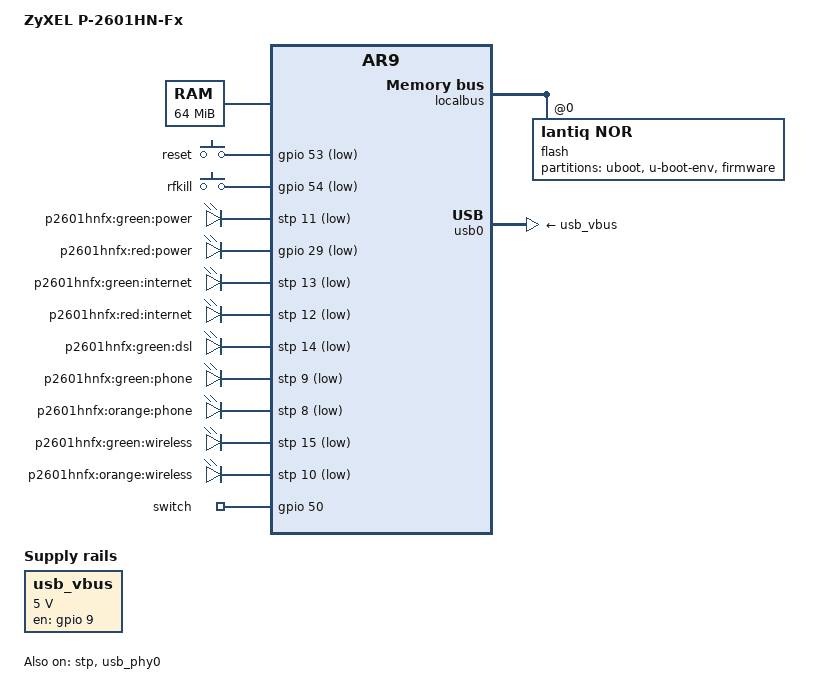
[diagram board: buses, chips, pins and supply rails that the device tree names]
/dts-v1/;

#include "ar9.dtsi"

#include <dt-bindings/input/input.h>

/ {
	compatible = "zyxel,p-2601hn", "lantiq,xway", "lantiq,ar9";
	model = "ZyXEL P-2601HN-Fx";

	chosen {
		bootargs = "console=ttyLTQ0,115200";
	};

	aliases {
		led-boot = &power_green;
		led-failsafe = &power_red;
		led-running = &power_green;
		led-upgrade = &power_green;

		led-dsl = &dsl;
		led-internet = &online;
		led-wifi = &wifi;
	};

	memory@0 {
		device_type = "memory";
		reg = <0x0 0x4000000>;
	};

	keys {
		compatible = "gpio-keys-polled";
		poll-interval = <100>;

		reset {
			label = "reset";
			gpios = <&gpio 53 GPIO_ACTIVE_LOW>;
			linux,code = <KEY_RESTART>;
		};
		rfkill {
			label = "rfkill";
			gpios = <&gpio 54 GPIO_ACTIVE_LOW>;
			linux,code = <KEY_RFKILL>;
		};
	};

	leds {
		compatible = "gpio-leds";

		power_green: power {
			label = "p2601hnfx:green:power";
			gpios = <&stp 11 GPIO_ACTIVE_LOW>;
			default-state = "keep";
		};
		power_red: power2 {
			label = "p2601hnfx:red:power";
			gpios = <&gpio 29 GPIO_ACTIVE_LOW>;
		};
		online: online {
			label = "p2601hnfx:green:internet";
			gpios = <&stp 13 GPIO_ACTIVE_LOW>;
		};
		online2 {
			label = "p2601hnfx:red:internet";
			gpios = <&stp 12 GPIO_ACTIVE_LOW>;
		};
		dsl: dsl {
			label = "p2601hnfx:green:dsl";
			gpios = <&stp 14 GPIO_ACTIVE_LOW>;
		};
		phone {
			label = "p2601hnfx:green:phone";
			gpios = <&stp 9 GPIO_ACTIVE_LOW>;
		};
		phone2 {
			label = "p2601hnfx:orange:phone";
			gpios = <&stp 8 GPIO_ACTIVE_LOW>;
		};
		wifi: wifi {
			label = "p2601hnfx:green:wireless";
			gpios = <&stp 15 GPIO_ACTIVE_LOW>;
		};
		wifi2 {
			label = "p2601hnfx:orange:wireless";
			gpios = <&stp 10 GPIO_ACTIVE_LOW>;
		};
	};

	gpio_export {
		compatible = "gpio-export";
		#size-cells = <0>;

		switch {
			gpio-export,name = "switch";
			gpio-export,output = <1>;
			gpios = <&gpio 50 GPIO_ACTIVE_HIGH>;
		};
	};

	usb_vbus: regulator-usb-vbus {
		compatible = "regulator-fixed";

		regulator-name = "USB_VBUS";

		regulator-min-microvolt = <5000000>;
		regulator-max-microvolt = <5000000>;

		gpio = <&gpio 9 GPIO_ACTIVE_HIGH>;
		enable-active-high;
	};
};

&gpio {
	pinctrl-names = "default";
	pinctrl-0 = <&state_default>;

	state_default: pinmux {
		exin {
			lantiq,groups = "exin1";
			lantiq,function = "exin";
		};
	};
};

&gsw {
	phy-mode = "rmii";
};

&localbus {
	flash@0 {
		compatible = "lantiq,nor";
		bank-width = <2>;
		reg = <0 0x0 0x2000000>;

		partitions {
			compatible = "fixed-partitions";
			#address-cells = <1>;
			#size-cells = <1>;

			partition@0 {
				label = "uboot";
				reg = <0x00000 0x40000>;
				read-only;
			};

			partition@40000 {
				label = "u-boot-env";
				reg = <0x40000 0x20000>;
				read-only;
			};

			partition@60000 {
				label = "firmware";
				reg = <0x60000 0xfa0000>;
			};
		};
	};
};

&pci0 {
	pinctrl-0 = <&pci_gnt1_pins>, <&pci_req1_pins>;
	pinctrl-names = "default";
};

&stp {
	status = "okay";
	lantiq,shadow = <0xfff>;
	lantiq,groups = <0x3>;
};

&usb_phy0 {
	status = "okay";
};

&usb0 {
	status = "okay";
	vbus-supply = <&usb_vbus>;
};
